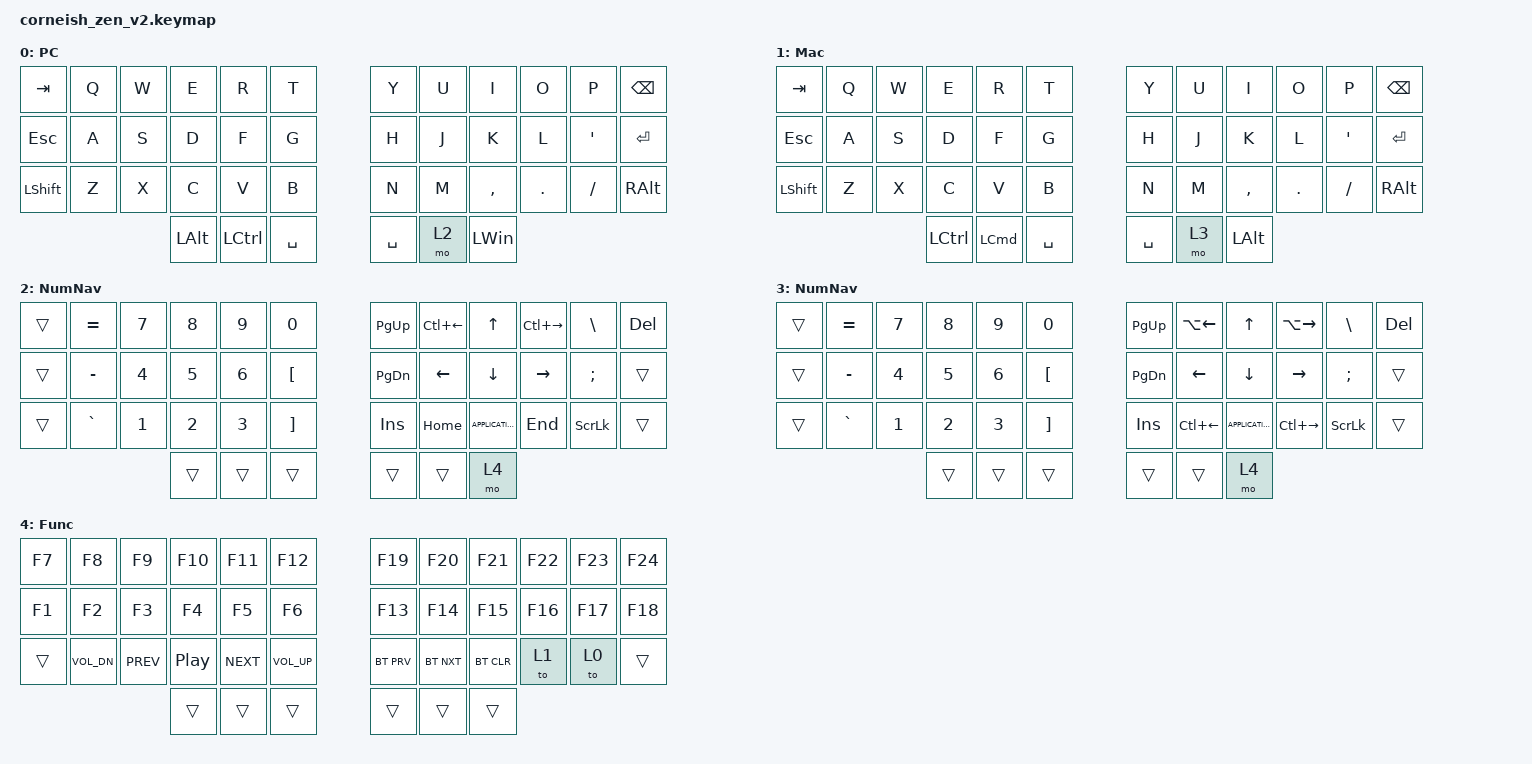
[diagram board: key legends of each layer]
#include <behaviors.dtsi>
#include <dt-bindings/zmk/keys.h>
#include <dt-bindings/zmk/bt.h>

/ {
    keymap {
        compatible = "zmk,keymap";

        PC {
            label = "PC";
            // |   TAB   |    Q    |    W    |    E    |    R    |    T    |            |    Y    |    U    |    I    |    O    |    P    |  BSPC   |
            // |   ESC   |    A    |    S    |    D    |    F    |    G    |            |    H    |    J    |    K    |    L    |    '    | RETURN  |
            // |  SHIFT  |    Z    |    X    |    C    |    V    |    B    |            |    N    |    M    |    ,    |    .    |    /    |  ALTGR  |
            //                               |  LALT   |  LCTRL  |  SPACE  |            |  SPACE  |   MO 1  |  L WIN  |
            bindings = <
                &kp TAB &kp Q &kp W &kp E &kp R &kp T &kp Y &kp U &kp I &kp O &kp P &kp BSPC
                &kp ESCAPE &kp A &kp S &kp D &kp F &kp G &kp H &kp J &kp K &kp L &kp APOSTROPHE &kp ENTER
                &kp LSHFT &kp Z &kp X &kp C &kp V &kp B &kp N &kp M &kp COMMA &kp DOT &kp FSLH &kp RIGHT_ALT
                &kp LEFT_ALT &kp LCTRL &kp SPACE &kp SPACE &mo 2 &kp LWIN
            >;
        };

        Mac {
            label = "Mac";
            // |   TAB   |    Q    |    W    |    E    |    R    |    T    |            |    Y    |    U    |    I    |    O    |    P    |  BSPC   |
            // |   ESC   |    A    |    S    |    D    |    F    |    G    |            |    H    |    J    |    K    |    L    |    '    | RETURN  |
            // |  SHIFT  |    Z    |    X    |    C    |    V    |    B    |            |    N    |    M    |    ,    |    .    |    /    |  ALTGR  |
            //                               |  LCTRL  |  LCMD   |  SPACE  |            |  SPACE  |   MO 1  |  L OPT  |
            bindings = <
                &kp TAB &kp Q &kp W &kp E &kp R &kp T &kp Y &kp U &kp I &kp O &kp P &kp BSPC
                &kp ESCAPE &kp A &kp S &kp D &kp F &kp G &kp H &kp J &kp K &kp L &kp APOSTROPHE &kp ENTER
                &kp LSHFT &kp Z &kp X &kp C &kp V &kp B &kp N &kp M &kp COMMA &kp DOT &kp FSLH &kp RIGHT_ALT
                &kp LCTRL &kp LCMD &kp SPACE &kp SPACE &mo 3 &kp LALT
            >;
        };

        NumNav {
            label = "NumNav";
            // |   TAB   |    =    |    7    |    8    |    9    |    0    |            |  PG_UP  | L_WORD  |   UP    | R_WORD  |    \    |   DEL   |
            // |   ESC   |    -    |    4    |    5    |    6    |    [    |            | PG_DOWN |  LEFT   |  DOWN   |  RIGHT  |    ;    | RETURN  |
            // |  SHIFT  |    `    |    1    |    2    |    3    |    ]    |            |   INS   |  HOME   |   APP   |   END   | SCRLCK  |  ALTGR  |
            //                               |  LALT   |  LCTRL  |  SPACE  |            |  SPACE  |         |  FUNC   |
            bindings = <
                &trans &kp EQUAL &kp N7 &kp N8 &kp N9 &kp N0 &kp PAGE_UP &kp LC(LEFT_ARROW) &kp UP_ARROW &kp LC(RIGHT_ARROW) &kp BACKSLASH &kp DEL
                &trans &kp MINUS &kp N4 &kp N5 &kp N6 &kp LEFT_BRACKET &kp PAGE_DOWN &kp LEFT_ARROW &kp DOWN_ARROW &kp RIGHT_ARROW &kp SEMICOLON &trans
                &trans &kp GRAVE &kp N1 &kp N2 &kp N3 &kp RIGHT_BRACKET &kp INS &kp HOME &kp K_APPLICATION &kp END &kp SCROLLLOCK &trans
                &trans &trans &trans &trans &trans &mo 4
            >;
        };

        MacNumNav {
            label = "NumNav";
            // |   TAB   |    =    |    7    |    8    |    9    |    0    |            |  PG_UP  | L_WORD  |   UP    | R_WORD  |    \    |   DEL   |
            // |   ESC   |    -    |    4    |    5    |    6    |    [    |            | PG_DOWN |  LEFT   |  DOWN   |  RIGHT  |    ;    | RETURN  |
            // |  SHIFT  |    `    |    1    |    2    |    3    |    ]    |            |   INS   |  HOME   |   APP   |   END   | SCRLCK  |  ALTGR  |
            //                               |  LALT   |  LCTRL  |  SPACE  |            |  SPACE  |         |  FUNC   |
            bindings = <
                &trans &kp EQUAL &kp N7 &kp N8 &kp N9 &kp N0 &kp PAGE_UP &kp LA(LEFT_ARROW) &kp UP_ARROW &kp LA(RIGHT_ARROW) &kp BACKSLASH &kp DEL
                &trans &kp MINUS &kp N4 &kp N5 &kp N6 &kp LEFT_BRACKET &kp PAGE_DOWN &kp LEFT_ARROW &kp DOWN_ARROW &kp RIGHT_ARROW &kp SEMICOLON &trans
                &trans &kp GRAVE &kp N1 &kp N2 &kp N3 &kp RIGHT_BRACKET &kp INS &kp LC(LEFT_ARROW) &kp K_APPLICATION &kp LC(RIGHT_ARROW) &kp SCROLLLOCK &trans
                &trans &trans &trans &trans &trans &mo 4
            >;
        };

        PCFunc {
            label = "Func";
            // |   F7    |   F8    |   F9    |   F10   |   F11   |   F12   |            |   F19   |   F20   |   F21   |   F22   |   F23   |   F24   |
            // |   F1    |   F2    |   F3    |   F4    |   F5    |   F6    |            |   F13   |   F14   |   F15   |   F16   |   F17   |   F18   |
            // |  SHIFT  | VOL DN  |  PREV   |  PLAY   |  NEXT   | VOL UP  |            | BT NXT  | BT PRV  | BT CLR  | TO Mac  |  TO PC  |  ALTGR  |
            //                               |  LALT   |  LCTRL  |  SPACE  |            |  SPACE  |         |         |
            bindings = <
                &kp F7 &kp F8 &kp F9 &kp F10 &kp F11 &kp F12 &kp F19 &kp F20 &kp F21 &kp F22 &kp F23 &kp F24
                &kp F1 &kp F2 &kp F3 &kp F4 &kp F5 &kp F6 &kp F13 &kp F14 &kp F15 &kp F16 &kp F17 &kp F18
                &trans &kp C_VOL_DN &kp C_PREV &kp C_PP &kp C_NEXT &kp C_VOL_UP &bt BT_PRV &bt BT_NXT &bt BT_CLR &to 1 &to 0 &trans
                &trans &trans &trans &trans &trans &trans
            >;
        };
    };
};
